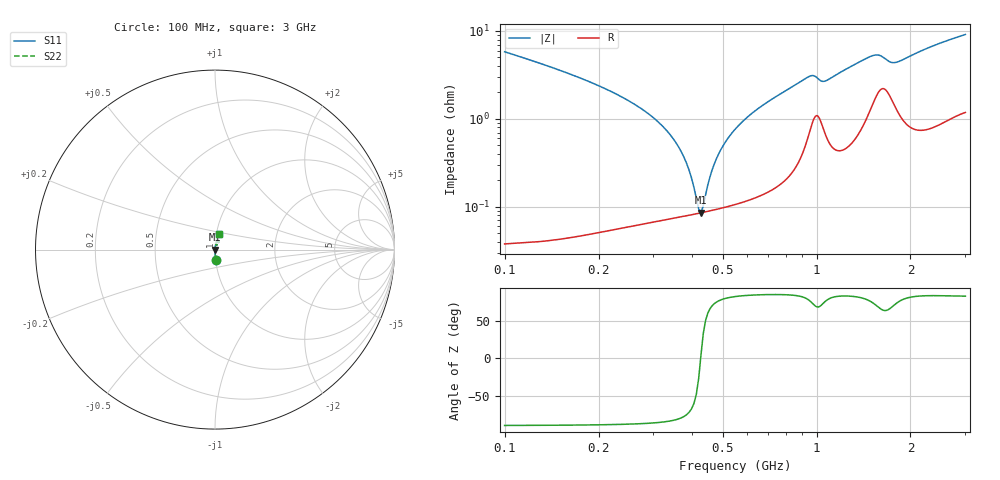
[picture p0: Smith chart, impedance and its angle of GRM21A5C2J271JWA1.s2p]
!Murata Part Number: GRM21A5C2J271JWA1
!These Parameters are Measured in Series Mode Connection
!Data Generated on Mar 30, 2021
!  o--ll--o
!Port1  Port2
!  o------o
!Operation Temp=25[degC], DC Bias Voltage=0[V]
!Freq. Start=100[MHz] Stop=3[GHz] 401[Steps]
# Hz S RI R 50
!Freq.(Hz) S11(Real) S11(Imag) S21(Real) S21(Imag) S12(Real) S12(Imag) S22(Real) S22(Imag)
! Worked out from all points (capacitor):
!   401 points, 100 MHz to 3 GHz, reference 50 ohm
!   read as one part in series: C = 259 pF near 114.5 MHz
!   lowest |Z| = 85.9 mohm at 426.2 MHz (marker M1)
!   series resonance near 425.2 MHz, so ESL is about 540 pH
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1e8  0.00373 -0.0578  0.9963 0.0578  0.9963 0.0578  0.00373 -0.0578
2.74e8  0.000801 -0.0131  0.9992 0.0131  0.9992 0.0131  0.000801 -0.0131
3.32e8  0.000769 -0.00721  0.9992 0.00721  0.9992 0.00721  0.000769 -0.00721
3.755e8  0.000793 -0.0036  0.9992 0.0036  0.9992 0.0036  0.000793 -0.0036
3.9e8  0.000807 -0.0025  0.9992 0.0025  0.9992 0.0025  0.000807 -0.0025
4.1175e8  0.000834 -0.000929  0.9992 0.000929  0.9992 0.000929  0.000834 -0.000929
4.2625e8  0.000855 7.41e-05  0.9991 -7.41e-05  0.9991 -7.41e-05  0.000855 7.41e-05
4.4075e8  0.000878 0.00105  0.9991 -0.00105  0.9991 -0.00105  0.000878 0.00105
4.6975e8  0.000931 0.00291  0.9991 -0.00291  0.9991 -0.00291  0.000931 0.00291
4.915e8  0.000976 0.00424  0.999 -0.00424  0.999 -0.00424  0.000976 0.00424
5.35e8  0.00108 0.00679  0.9989 -0.00679  0.9989 -0.00679  0.00108 0.00679
5.8575e8  0.00123 0.00961  0.9988 -0.00961  0.9988 -0.00961  0.00123 0.00961
7.09e8  0.00177 0.0161  0.9982 -0.0161  0.9982 -0.0161  0.00177 0.0161
9.265e8  0.00609 0.0284  0.9939 -0.0284  0.9939 -0.0284  0.00609 0.0284
9.7725e8  0.0105 0.0289  0.9895 -0.0289  0.9895 -0.0289  0.0105 0.0289
1.0715e9  0.00707 0.026  0.9929 -0.026  0.9929 -0.026  0.00707 0.026
1.347e9  0.00804 0.0419  0.992 -0.0419  0.992 -0.0419  0.00804 0.0419
1.55e9  0.0199 0.0485  0.9801 -0.0485  0.9801 -0.0485  0.0199 0.0485
1.7675e9  0.0162 0.0398  0.9838 -0.0398  0.9838 -0.0398  0.0162 0.0398
2.03575e9  0.0104 0.0522  0.9896 -0.0522  0.9896 -0.0522  0.0104 0.0522
2.5215e9  0.014 0.0718  0.986 -0.0718  0.986 -0.0718  0.014 0.0718
3e9  0.0196 0.0877  0.9804 -0.0877  0.9804 -0.0877  0.0196 0.0877
